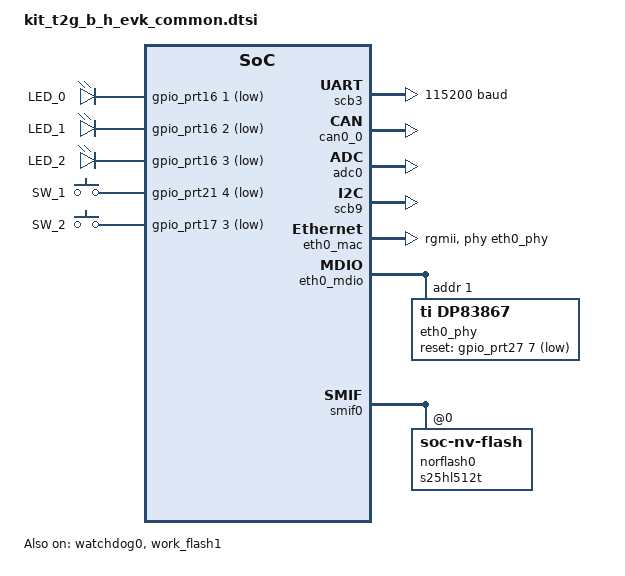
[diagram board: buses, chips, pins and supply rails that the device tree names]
/*
 * Copyright (c) 2025 Infineon Technologies AG,
 * or an affiliate of Infineon Technologies AG.
 *
 * SPDX-License-Identifier: Apache-2.0
 */

#include <arm/infineon/cat1c/traveo2-8m/system_clocks.dtsi>
#include <arm/infineon/cat1c/traveo2-8m/cyt4bfbche.dtsi>
#include <zephyr/dt-bindings/input/input-event-codes.h>
#include <zephyr/dt-bindings/pinctrl/ifx_cat1-pinctrl.h>
#include "kit_t2g_b_h_evk_cyt4bfbche_m0p-pinctrl.dtsi"
#include <dt-bindings/adc/adc.h>

/ {
	aliases {
		uart-3 = &uart3;
		led0 = &user_led0;
		led1 = &user_led1;
		led2 = &user_led2;
		sw0 = &user_bt0;
		sw1 = &user_bt1;
		watchdog0 = &watchdog0;
		dma0 = &dma0;
		smif0 = &smif0;
	};

	leds {
		compatible = "gpio-leds";

		user_led0: led_0 {
			label = "LED_0";
			gpios = <&gpio_prt16 1 GPIO_ACTIVE_LOW>;
		};

		user_led1: led_1 {
			label = "LED_1";
			gpios = <&gpio_prt16 2 GPIO_ACTIVE_LOW>;
		};

		user_led2: led_2 {
			label = "LED_2";
			gpios = <&gpio_prt16 3 GPIO_ACTIVE_LOW>;
		};
	};

	gpio_keys {
		compatible = "gpio-keys";

		user_bt0: user_btn0 {
			label = "SW_1";
			gpios = <&gpio_prt21 4 (GPIO_PULL_UP | GPIO_ACTIVE_LOW)>;
			zephyr,code = <INPUT_KEY_0>;
		};

		user_bt1: user_btn1 {
			label = "SW_2";
			gpios = <&gpio_prt17 3 (GPIO_PULL_UP | GPIO_ACTIVE_LOW)>;
			zephyr,code = <INPUT_KEY_1>;
		};
	};
    reserved-memory {
        #address-cells = <1>;
        #size-cells = <1>;
        sram_srom: memory@28000000 {
            reg = <0x28000000 DT_SIZE_K(2)>;
        };
        sram_m0plus: memory@28000800 {
            reg = <0x28000800 DT_SIZE_K(30)>;
        };
        sram_m7_0: memory@28008000 {
            reg = <0x28008000 DT_SIZE_K(224)>;
        };
        sram_m7_1: memory@28040000 {
            reg = <0x28040000 DT_SIZE_K(256)>;
        };
    };
};


&code_flash0 {
	partitions {
		compatible = "fixed-partitions";
		#address-cells = <1>;
		#size-cells = <1>;

		m0p_partition: partition_m0p@0 {
			label = "m0p_partition";
			reg = <0x0 DT_SIZE_K(512)>;
			status = "disabled";
		};
		m7_0_partition: partition@80000 {
			label = "m7_0_partition";
			reg = <0x80000 DT_SIZE_K(2048)>;
		};
		m7_1_partition: partition@280000 {
			label = "m7_1_partition";
			reg = <0x280000 DT_SIZE_K(5568)>;
		};
	};
};

uart3: &scb3 {
	compatible = "infineon,cat1-uart-pdl";
	current-speed = <115200>;
	clocks = <&clk_hf2>;
    ifx,peri-group = <IFX_PERI_GRP_INST_SEL(1, 0)>;
    ifx,peri-clk = <0x0121>;
    ifx,peri-div = <0>; /* 8-bit divider */
    ifx,peri-div-inst = <0>;

	/* UART pins */
	pinctrl-0 = <&p13_1_scb3_uart_tx &p13_0_scb3_uart_rx>;
	pinctrl-names = "default";
};

can0: &can0_0 {
	compatible = "infineon,cat1-can";
	clocks = <&clk_hf2>;
	clock-frequency = <40000000>;
	ifx,peri-group = <IFX_PERI_GRP_INST_SEL(1, 0)>;
	ifx,peri-clk = <0x0100>;
	ifx,peri-div = <3>; /* 24-bit divider */
	ifx,peri-div-inst = <0>;

	pinctrl-0 = <&p0_2_can0_0_tx &p0_3_can0_0_rx>;
	pinctrl-names = "default";
};

&adc0 {
	status = "okay";
	clock-frequency = <26670000>;
	ifx,peri-group = <IFX_PERI_GRP_INST_SEL(1, 0)>;
	ifx,peri-clk = <0x012A>;
	ifx,peri-div = <0>; /* 8-bit divider */
	ifx,peri-div-inst = <2>;

	#address-cells = <1>;
	#size-cells = <0>;
};

i2c9: &scb9 {
    compatible = "infineon,cat1-i2c-pdl";
    status = "okay";

    #address-cells = <1>;
    #size-cells = <0>;

    /* I2C pins */
    pinctrl-0 = <&p15_1_scb9_i2c_sda &p15_2_scb9_i2c_scl>;
    pinctrl-names = "default";

    clocks = <&clk_hf2>;
    ifx,peri-group = <IFX_PERI_GRP_INST_SEL(1, 0)>;
    ifx,peri-clk = <0x0127>;
    ifx,peri-div = <0>; /* 8-bit divider */
    ifx,peri-div-inst = <1>;
};

&eth0_mac {
	status = "okay";
	pinctrl-0 = < &p26_2_eth_txd_0 &p26_3_eth_txd_1 &p26_4_eth_txd_2 &p26_5_eth_txd_3
				&p26_0_eth_ref_clk &p26_1_eth_tx_en	&p26_6_eth_tx_clk
				&p26_7_eth_rxd_0 &p27_0_eth_rxd_1 &p27_1_eth_rxd_2 &p27_2_eth_rxd_3
				&p27_4_eth_rx_ctl &p27_3_eth_rx_clk  >;

	pinctrl-names = "default";
	phy-connection-type = "rgmii";

	phy-handle = <&eth0_phy>;
	clock-frequency = <125000000>;
	local-mac-address = [b0 19 21 67 36 00];
};

&eth0_mdio {
	status = "okay";
	pinctrl-0 = <&p27_5_eth_mdc &p27_6_eth_mdio>;
	pinctrl-names = "default";

	eth0_phy: phy@1 {
		compatible = "ti,dp83867";
		reg = <0x1>;
		status = "okay";
		reset-gpios = <&gpio_prt27 7 (GPIO_PULL_UP | GPIO_ACTIVE_LOW)>;
		ti,interface-type = "rgmii-id";
		ti,rx-internal-delay = <8>;
		ti,tx-internal-delay = <8>;
	};
};

/* QSPI External NOR Flash */
&smif0 {
    status = "okay";
    pinctrl-0 = <
        &p6_3_smif0_clk &p6_5_smif0_sel0
        &p7_1_smif0_data0 &p7_2_smif0_data1
        &p7_3_smif0_data2 &p7_4_smif0_data3
    >;
    pinctrl-names = "default";

    norflash0: s25hl512t@0 {
		status ="okay";
        compatible = "soc-nv-flash";
        reg = <0x00000000 DT_SIZE_M(64)>;
        write-block-size = <512>;
        erase-block-size = <DT_SIZE_K(256)>;

        partitions {
            compatible = "fixed-partitions";
            #address-cells = <1>;
            #size-cells = <1>;
        };

    };
};


&can0 {
    status = "okay";
};

&watchdog0 {
	status = "okay";
};

&dma0 {
	status = "okay";
};

&gpio_prt16 {
	status = "okay";
};

&gpio_prt17 {
	status = "okay";
};

&gpio_prt21 {
	status = "okay";
};

&gpio_prt13 {
    status = "okay";
};

&gpio_prt15 {
    status = "okay";
};

&gpio_prt26 {
    status = "okay";
};

&gpio_prt27 {
    status = "okay";
};

&gpio_prt6 {
    status = "okay";
};

&gpio_prt7 {
    status = "okay";
};

&work_flash0 {
	status = "okay";
};

&work_flash1 {
	status = "okay";
};

&clk_eco {
	status = "okay";
	clock-frequency = <16000000>;
};

&pll0 {
	status = "okay";
};

&pll1 {
	status = "okay";
};

&pll2 {
	status = "okay";
};

&pll3 {
	status = "okay";
};


&clk_hf0 {
	status = "okay";
};
&clk_hf1 {
	status = "okay";
};
&clk_hf2 {
	status = "okay";
};
&clk_hf3 {
	status = "okay";
};
&clk_hf4 {
	status = "okay";
};
&clk_hf5 {
	status = "okay";
};
&clk_hf6 {
	status = "okay";
};
&clk_hf7 {
	status = "okay";
};

